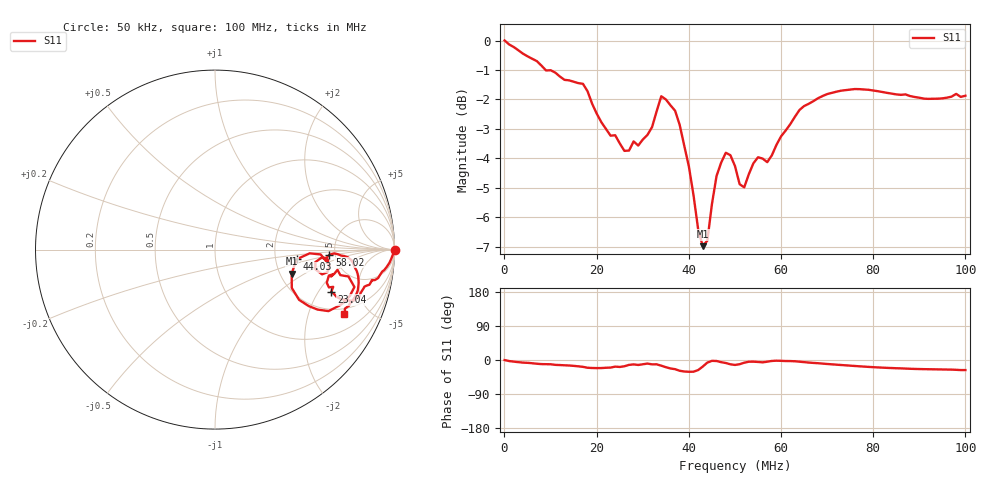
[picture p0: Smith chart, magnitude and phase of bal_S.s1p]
# Hz S RI R 50
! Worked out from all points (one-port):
!   101 points, 50 kHz to 100 MHz, reference 50 ohm
!   lowest |S11| = -7.0 dB at 43.03 MHz (marker M1), VSWR 2.62, Z = 116 - j38.6 ohm
!   |S11| at or under -10 dB: nowhere
!   S11 on the Smith chart (normalised r, x): 50 kHz: open; 23.04 MHz: 2.92, -2.62; 44.03 MHz: 2.63, -0.36; 58.02 MHz: 4.49, -0.43; 100 MHz: 1.69, -3.47
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50000  1 -0.00305
4048000  0.9428 -0.1142
1.30435e7  0.8322 -0.2067
1.8041e7  0.7684 -0.2867
2.30385e7  0.6478 -0.2358
2.50375e7  0.6347 -0.2107
2.70365e7  0.6341 -0.1449
3.10345e7  0.6822 -0.1127
3.30335e7  0.7436 -0.1499
3.4033e7  0.7768 -0.2085
3.70315e7  0.6931 -0.3118
3.8031e7  0.6321 -0.3426
4.10295e7  0.4686 -0.2801
4.30285e7  0.4272 -0.1335
4.4028e7  0.4542 -0.0542
4.50275e7  0.5276 -0.0207
4.70265e7  0.6174 -0.0623
4.8026e7  0.6388 -0.0883
5.0025e7  0.5964 -0.138
5.10245e7  0.5598 -0.1098
5.30235e7  0.5912 -0.0466
5.6022e7  0.6267 -0.0674
5.8021e7  0.6379 -0.0281
6.30185e7  0.7408 -0.0431
6.90155e7  0.7939 -0.1327
7.50125e7  0.7977 -0.2124
8.8006e7  0.7398 -0.317
1e8  0.7208 -0.3604
